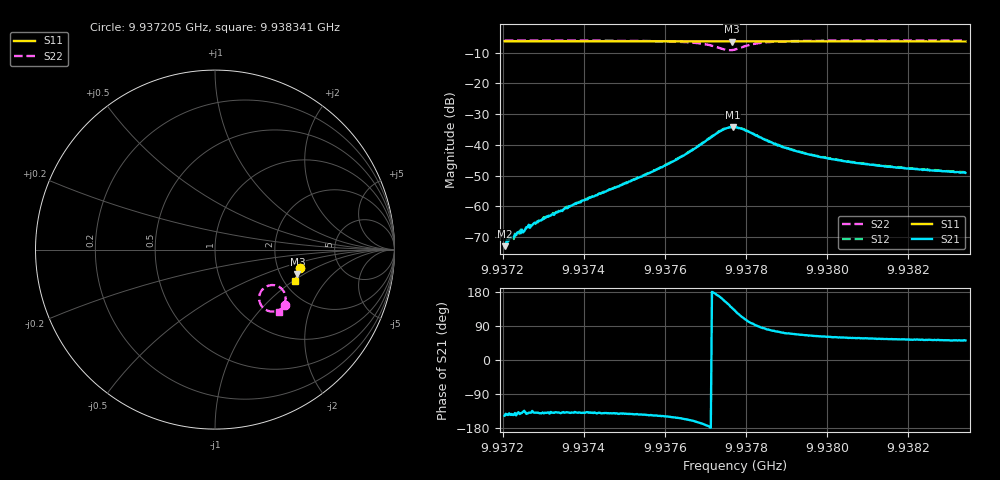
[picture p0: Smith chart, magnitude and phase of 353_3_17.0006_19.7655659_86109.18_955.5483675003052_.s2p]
#  HZ  S  RI  R  50.00
! Rohde & Schwarz Vector Network Analyzer
! Rohde-Schwarz,ZNB20-2Port,1311601062101988,3.16
! Created: UTC 3/20/2024, 11:07:55 PM
! freq[Hz]  re:S11  im:S11  re:S21  im:S21  re:S12  im:S12  re:S22  im:S22
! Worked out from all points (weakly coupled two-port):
!   401 points, 9.937205 GHz to 9.938341 GHz, reference 50 ohm
!   highest |S21| = -34.20 dB at 9.937767 GHz (marker M1); lowest = -73.0 dB at 9.937205 GHz (marker M2)
!   lowest |S11| = -6.4 dB at 9.937765 GHz (marker M3), VSWR 2.84, Z = 124 - j44.1 ohm
!   |S11| at or under -10 dB: nowhere
!   |S22| runs from -9.2 to -6.0 dB; largest |S21 - S12| = 0.00072
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9.9372051e9  0.4731 -0.1019  -0.000188 -0.000122  -0.000209 -0.000143  0.3899 -0.3104
9.9372164e9  0.4728 -0.1027  -0.000225 -0.000185  -0.000257 -0.000149  0.3892 -0.3112
9.9372363e9  0.4723 -0.104  -0.000289 -0.000237  -0.000284 -0.000228  0.3877 -0.3126
9.9372505e9  0.4722 -0.105  -0.000272 -0.000258  -0.000326 -0.000228  0.387 -0.3135
9.937259e9  0.472 -0.1055  -0.000361 -0.000279  -0.000359 -0.000273  0.3865 -0.3141
9.9372817e9  0.4716 -0.1072  -0.0004 -0.000352  -0.000404 -0.000329  0.3846 -0.3159
9.9373187e9  0.4708 -0.1095  -0.000515 -0.000481  -0.00054 -0.000482  0.3816 -0.3184
9.9373953e9  0.4692 -0.1147  -0.000935 -0.000795  -0.000953 -0.000776  0.3747 -0.3243
9.9375856e9  0.4649 -0.1275  -0.00345 -0.00222  -0.00352 -0.00219  0.3438 -0.3415
9.9376481e9  0.4632 -0.1318  -0.0062 -0.0028  -0.00639 -0.00277  0.3184 -0.345
9.9376992e9  0.4614 -0.135  -0.0111 -0.00173  -0.0114 -0.00161  0.2782 -0.3322
9.937739e9  0.4597 -0.1369  -0.0163 0.00465  -0.0163 0.00529  0.246 -0.2745
9.9377646e9  0.4591 -0.1374  -0.0145 0.0128  -0.0144 0.0133  0.2709 -0.2157
9.9377674e9  0.4592 -0.1377  -0.0139 0.0136  -0.0136 0.0141  0.2773 -0.2108
9.9377731e9  0.4591 -0.1378  -0.0125 0.0148  -0.0122 0.0154  0.2905 -0.2035
9.9377901e9  0.4592 -0.1386  -0.00727 0.0168  -0.00691 0.017  0.3314 -0.1985
9.9378327e9  0.4592 -0.1414  0.000426 0.0133  0.000843 0.0135  0.3854 -0.237
9.9378838e9  0.4584 -0.1454  0.00272 0.0093  0.00295 0.00928  0.394 -0.2751
9.9379634e9  0.4565 -0.1507  0.00299 0.00609  0.00315 0.0061  0.3875 -0.3035
9.9380429e9  0.4545 -0.156  0.00276 0.00463  0.00287 0.00465  0.3798 -0.3182
9.9381537e9  0.4516 -0.1632  0.00255 0.00364  0.00262 0.0036  0.3708 -0.3308
9.9383411e9  0.4461 -0.1753  0.00218 0.00274  0.00228 0.00272  0.3575 -0.3454
